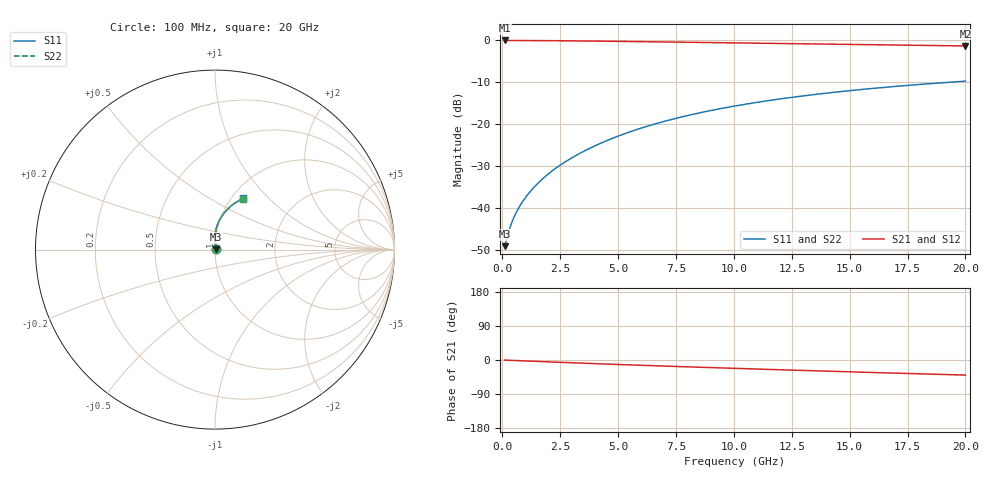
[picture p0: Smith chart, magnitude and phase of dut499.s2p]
! Touchstone file exported from HFSS 2024.1.0
!  File:  C:/UserFiles/LocalFiles/RDL_TSV_Batchsim/temp_RDL_bottom_499_1779687154.aedt
!  Generated:  01:35:12 PM May 25, 2026
!  Design:  RDL_bottom
!  Project:  temp_RDL_bottom_499_1779687154
!  Setup:  Setup1
!  Solution:  Sweep
! Variables:
!  dtsv = 10.80580581um
!  hbump = 3um
!  htsv = 54.25um
!  ldown = 578.91um
!  lrdl = 100um
!  p = 40
!  p1 = 53um
!  rhole = 1um
!  t = 450um
!  tdown = 2.48um
!  trdl = 3.915915916um
!  wdown = 29.09um
!  wrdl = 20um
# GHz S MA R 50.000000
! Terminal data exported
! Port[1] = RDL1_T1
! Port[2] = RDL1_T2
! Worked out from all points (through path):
!   200 points, 100 MHz to 20 GHz, reference 50 ohm
!   highest |S21| = -0.03 dB at 100 MHz (marker M1); lowest = -1.3 dB at 20 GHz (marker M2)
!   group delay of S21, straight-line fit = 5.45 ps
!   lowest |S11| = -49.1 dB at 100 MHz (marker M3), VSWR 1.01, Z = 50.3 + j0.151 ohm
!   |S11| at or under -10 dB: start of sweep to 19.29 GHz
!   |S22| runs from -49.1 to -9.7 dB; largest |S21 - S12| = 6.1e-15
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0.1  0.003523 25.2  0.9968 -0.3  0.9968 -0.3  0.003523 25.2
! Gamma 0 0 0 0
! Port Impedance 50 0 50 0
0.3  0.005527 50.8  0.9964 -0.8  0.9964 -0.8  0.005527 50.8
0.4  0.006649 56.8  0.9961 -1.0  0.9961 -1.0  0.006649 56.8
0.5  0.007764 61.1  0.9958 -1.3  0.9958 -1.3  0.007764 61.1
0.6  0.008872 64.5  0.9956 -1.5  0.9956 -1.5  0.008873 64.5
0.8  0.0111 69.6  0.995 -2.0  0.995 -2.0  0.0111 69.6
1  0.01338 73.5  0.9945 -2.5  0.9945 -2.5  0.01338 73.5
1.2  0.01571 76.5  0.9939 -3.0  0.9939 -3.0  0.01571 76.5
1.7  0.02185 81.8  0.9922 -4.2  0.9922 -4.2  0.02185 81.7
2.2  0.02841 85.1  0.9901 -5.4  0.9901 -5.4  0.02841 85.0
2.8  0.03683 87.6  0.9869 -6.9  0.9869 -6.9  0.03682 87.5
3.5  0.04737 89.2  0.9827 -8.5  0.9827 -8.5  0.04735 89.2
4.2  0.05861 89.9  0.9779 -10.1  0.9779 -10.1  0.05858 89.8
5  0.07219 89.9  0.972 -11.9  0.972 -11.9  0.07214 89.8
5.9  0.08817 89.1  0.9651 -13.8  0.9651 -13.8  0.0881 89.1
6.8  0.1046 87.9  0.958 -15.7  0.958 -15.7  0.1045 87.8
8.4  0.1345 84.9  0.9453 -18.9  0.9453 -18.9  0.1343 84.9
10.1  0.1661 81.4  0.932 -22.2  0.932 -22.2  0.1659 81.3
11.7  0.1951 77.9  0.9196 -25.2  0.9196 -25.2  0.1948 77.8
13.4  0.2247 74.2  0.9066 -28.3  0.9066 -28.3  0.2245 74.2
16.7  0.2783 67.3  0.8818 -34.2  0.8818 -34.2  0.2779 67.3
20  0.326 61.0  0.8575 -39.8  0.8575 -39.8  0.3255 60.9
